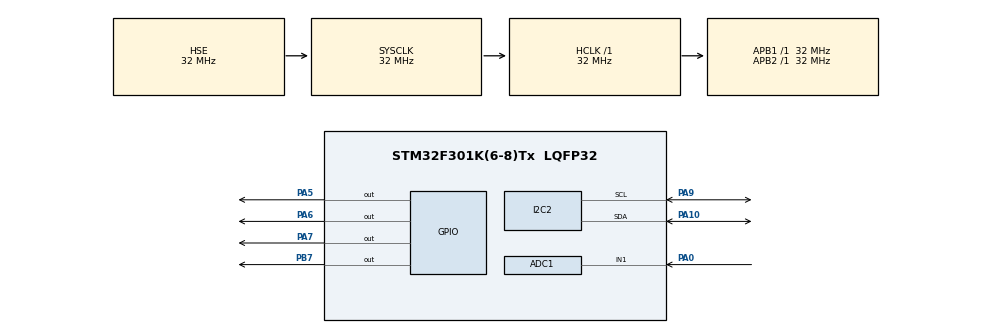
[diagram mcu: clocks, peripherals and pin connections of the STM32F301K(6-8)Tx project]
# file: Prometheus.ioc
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ADC1.Channel-0\#ChannelRegularConversion=ADC_CHANNEL_1
ADC1.ContinuousConvMode=ENABLE
ADC1.EOCSelection=ADC_EOC_SEQ_CONV
ADC1.NbrOfConversion=1
ADC1.NbrOfConversionFlag=1
ADC1.Offset-0\#ChannelRegularConversion=0
ADC1.OffsetNumber-0\#ChannelRegularConversion=ADC_OFFSET_NONE
ADC1.Rank-0\#ChannelRegularConversion=1
ADC1.SamplingTime-0\#ChannelRegularConversion=ADC_SAMPLETIME_2CYCLES_5
ADC1.SubFamily=STM32F301x8
ADC1.master=1
I2C2.DualAddressMode=I2C_DUALADDRESS_DISABLE
I2C2.GeneralCallMode=I2C_GENERALCALL_ENABLE
I2C2.I2C_Fall_Time=300
I2C2.I2C_Rise_Time=1000
I2C2.OwnAddress=0x51
I2C2.Timing=0x20D22930
Mcu.Family=STM32F3
Mcu.Name=STM32F301K(6-8)Tx
Mcu.Package=LQFP32
NVIC.I2C2_ER_IRQn=true\:0\:0\:false\:false\:true\:true\:true\:true
NVIC.I2C2_EV_IRQn=true\:0\:0\:false\:false\:true\:true\:true\:true
NVIC.PriorityGroup=NVIC_PRIORITYGROUP_4
PA0.Mode=IN1-Single-Ended
PA0.Signal=ADC1_IN1
PA10.Mode=I2C
PA10.Signal=I2C2_SDA
PA13.Mode=Serial_Wire
PA13.Signal=SYS_JTMS-SWDIO
PA14.Mode=Serial_Wire
PA14.Signal=SYS_JTCK-SWCLK
PA5.Signal=GPIO_Output
PA6.Signal=GPIO_Output
PA7.Signal=GPIO_Output
PA9.Mode=I2C
PA9.Signal=I2C2_SCL
PB7.Signal=GPIO_Output
PF0-OSC_IN.Mode=HSE-External-Oscillator
PF0-OSC_IN.Signal=RCC_OSC_IN
PF1-OSC_OUT.Mode=HSE-External-Oscillator
PF1-OSC_OUT.Signal=RCC_OSC_OUT
ProjectManager.HeapSize=0x200
ProjectManager.StackSize=0x400
ProjectManager.TargetToolchain=STM32CubeIDE
RCC.AHBFreq_Value=32000000
RCC.APB1Freq_Value=32000000
RCC.APB1TimFreq_Value=32000000
RCC.APB2Freq_Value=32000000
RCC.APB2TimFreq_Value=32000000
RCC.CortexFreq_Value=32000000
RCC.EnbaleCSS=true
RCC.HCLKFreq_Value=32000000
RCC.HSE_VALUE=32000000
RCC.HSI_VALUE=8000000
RCC.I2c2ClockSelection=RCC_I2C2CLKSOURCE_SYSCLK
RCC.PLLMUL=RCC_PLL_MUL16
RCC.PLLSourceVirtual=RCC_PLLSOURCE_HSE
RCC.RTCClockSelection=RCC_RTCCLKSOURCE_HSE_DIV32
RCC.SYSCLKFreq_VALUE=32000000
RCC.SYSCLKSourceVirtual=RCC_SYSCLKSOURCE_HSE
VP_ADC1_TempSens_Input.Mode=IN-TempSens
VP_ADC1_Vref_Input.Mode=IN-Vrefint
board=custom

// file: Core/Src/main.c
/* USER CODE BEGIN Header */
/**
  ******************************************************************************
  * @file           : main.c
  * @brief          : Main program body
  ******************************************************************************
  * @attention
  *
  * Copyright (c) 2024 STMicroelectronics.
  * All rights reserved.
  *
  * This software is licensed under terms that can be found in the LICENSE file
  * in the root directory of this software component.
  * If no LICENSE file comes with this software, it is provided AS-IS.
  *
  ******************************************************************************
  */
/* USER CODE END Header */
#include "main.h"

/* USER CODE BEGIN Includes */
#include "RequestQueue.h"
#include "i2c_queue.h"
#include "Scheduler.h"
#include "SettingsStore.h"
#include "QueueManager.h"
/* USER CODE END Includes */

ADC_HandleTypeDef hadc1;

I2C_HandleTypeDef hi2c2;

void SystemClock_Config(void);
static void MX_GPIO_Init(void);
static void MX_ADC1_Init(void);
static void MX_I2C2_Init(void);

int main(void)
{

  /* MCU Configuration--------------------------------------------------------*/

  /* Reset of all peripherals, Initializes the Flash interface and the Systick. */
  HAL_Init();

  /* Configure the system clock */
  SystemClock_Config();

  /* Initialize all configured peripherals */
  MX_GPIO_Init();
  MX_ADC1_Init();
  MX_I2C2_Init();
  /* USER CODE BEGIN 2 */
  if(HAL_I2C_EnableListen_IT(&hi2c2) != HAL_OK){
       Error_Handler();
  }

  HAL_GPIO_WritePin(GPIOA, GPIO_PIN_6, GPIO_PIN_SET);
  queue_manager_init();
  settingStoreInit();
  request_queue_init();
  i2c_queue_init();
  scheduler_init();
  HAL_GPIO_WritePin(GPIOA, GPIO_PIN_6, GPIO_PIN_RESET);
  uint8_t data[] = {
		  0x43, 0x65, 0x6C, 0x65, 0x72, 0x69, 0x74, 0x61, 0x73,	//Celeritas in ascii
  	  	  0x00, 0x00, 0x00, 0x00, 0x00, 0x00, 0x00};
  i2c_queue_push(data, false, 0x00);
  scheduler_restart_sleeptimer();
  /* USER CODE END 2 */

  /* Infinite loop */
  while (1)
  {

    /* USER CODE BEGIN 3 */
	  scheduler_update();
  }
  /* USER CODE END 3 */
}

void SystemClock_Config(void)
{
  RCC_OscInitTypeDef RCC_OscInitStruct = {0};
  RCC_ClkInitTypeDef RCC_ClkInitStruct = {0};
  RCC_PeriphCLKInitTypeDef PeriphClkInit = {0};

  /** Initializes the RCC Oscillators according to the specified parameters
  * in the RCC_OscInitTypeDef structure.
  */
  RCC_OscInitStruct.OscillatorType = RCC_OSCILLATORTYPE_HSE;
  RCC_OscInitStruct.HSEState = RCC_HSE_ON;
  RCC_OscInitStruct.HSIState = RCC_HSI_ON;
  RCC_OscInitStruct.PLL.PLLState = RCC_PLL_NONE;
  if (HAL_RCC_OscConfig(&RCC_OscInitStruct) != HAL_OK)
  {
    Error_Handler();
  }

  /** Initializes the CPU, AHB and APB buses clocks
  */
  RCC_ClkInitStruct.ClockType = RCC_CLOCKTYPE_HCLK|RCC_CLOCKTYPE_SYSCLK
                              |RCC_CLOCKTYPE_PCLK1|RCC_CLOCKTYPE_PCLK2;
  RCC_ClkInitStruct.SYSCLKSource = RCC_SYSCLKSOURCE_HSE;
  RCC_ClkInitStruct.AHBCLKDivider = RCC_SYSCLK_DIV1;
  RCC_ClkInitStruct.APB1CLKDivider = RCC_HCLK_DIV1;
  RCC_ClkInitStruct.APB2CLKDivider = RCC_HCLK_DIV1;

  if (HAL_RCC_ClockConfig(&RCC_ClkInitStruct, FLASH_LATENCY_1) != HAL_OK)
  {
    Error_Handler();
  }
  PeriphClkInit.PeriphClockSelection = RCC_PERIPHCLK_I2C2;
  PeriphClkInit.I2c2ClockSelection = RCC_I2C2CLKSOURCE_SYSCLK;
  if (HAL_RCCEx_PeriphCLKConfig(&PeriphClkInit) != HAL_OK)
  {
    Error_Handler();
  }

  /** Enables the Clock Security System
  */
  HAL_RCC_EnableCSS();
}

static void MX_ADC1_Init(void)
{

  ADC_ChannelConfTypeDef sConfig = {0};

  /** Common config
  */
  hadc1.Instance = ADC1;
  hadc1.Init.ClockPrescaler = ADC_CLOCK_SYNC_PCLK_DIV1;
  hadc1.Init.Resolution = ADC_RESOLUTION_12B;
  hadc1.Init.ScanConvMode = ADC_SCAN_DISABLE;
  hadc1.Init.ContinuousConvMode = ENABLE;
  hadc1.Init.DiscontinuousConvMode = DISABLE;
  hadc1.Init.ExternalTrigConvEdge = ADC_EXTERNALTRIGCONVEDGE_NONE;
  hadc1.Init.ExternalTrigConv = ADC_SOFTWARE_START;
  hadc1.Init.DataAlign = ADC_DATAALIGN_RIGHT;
  hadc1.Init.NbrOfConversion = 1;
  hadc1.Init.DMAContinuousRequests = DISABLE;
  hadc1.Init.EOCSelection = ADC_EOC_SEQ_CONV;
  hadc1.Init.LowPowerAutoWait = DISABLE;
  hadc1.Init.Overrun = ADC_OVR_DATA_OVERWRITTEN;
  if (HAL_ADC_Init(&hadc1) != HAL_OK)
  {
    Error_Handler();
  }

  /** Configure Regular Channel
  */
  sConfig.Channel = ADC_CHANNEL_1;
  sConfig.Rank = ADC_REGULAR_RANK_1;
  sConfig.SingleDiff = ADC_SINGLE_ENDED;
  sConfig.SamplingTime = ADC_SAMPLETIME_2CYCLES_5;
  sConfig.OffsetNumber = ADC_OFFSET_NONE;
  sConfig.Offset = 0;
  if (HAL_ADC_ConfigChannel(&hadc1, &sConfig) != HAL_OK)
  {
    Error_Handler();
  }

}

static void MX_I2C2_Init(void)
{

  hi2c2.Instance = I2C2;
  hi2c2.Init.Timing = 0x20D22930;
  hi2c2.Init.OwnAddress1 = 162;
  hi2c2.Init.AddressingMode = I2C_ADDRESSINGMODE_7BIT;
  hi2c2.Init.DualAddressMode = I2C_DUALADDRESS_DISABLE;
  hi2c2.Init.OwnAddress2 = 0;
  hi2c2.Init.OwnAddress2Masks = I2C_OA2_NOMASK;
  hi2c2.Init.GeneralCallMode = I2C_GENERALCALL_ENABLE;
  hi2c2.Init.NoStretchMode = I2C_NOSTRETCH_DISABLE;
  if (HAL_I2C_Init(&hi2c2) != HAL_OK)
  {
    Error_Handler();
  }

  /** Configure Analogue filter
  */
  if (HAL_I2CEx_ConfigAnalogFilter(&hi2c2, I2C_ANALOGFILTER_ENABLE) != HAL_OK)
  {
    Error_Handler();
  }

  /** Configure Digital filter
  */
  if (HAL_I2CEx_ConfigDigitalFilter(&hi2c2, 0) != HAL_OK)
  {
    Error_Handler();
  }

}

static void MX_GPIO_Init(void)
{
  GPIO_InitTypeDef GPIO_InitStruct = {0};

  /* GPIO Ports Clock Enable */
  __HAL_RCC_GPIOF_CLK_ENABLE();
  __HAL_RCC_GPIOA_CLK_ENABLE();
  __HAL_RCC_GPIOB_CLK_ENABLE();

  /*Configure GPIO pin Output Level */
  HAL_GPIO_WritePin(GPIOA, GPIO_PIN_5|GPIO_PIN_6|GPIO_PIN_7, GPIO_PIN_RESET);

  /*Configure GPIO pin Output Level */
  HAL_GPIO_WritePin(GPIOB, GPIO_PIN_7, GPIO_PIN_RESET);

  /*Configure GPIO pins : PA5 PA6 PA7 */
  GPIO_InitStruct.Pin = GPIO_PIN_5|GPIO_PIN_6|GPIO_PIN_7;
  GPIO_InitStruct.Mode = GPIO_MODE_OUTPUT_PP;
  GPIO_InitStruct.Pull = GPIO_NOPULL;
  GPIO_InitStruct.Speed = GPIO_SPEED_FREQ_LOW;
  HAL_GPIO_Init(GPIOA, &GPIO_InitStruct);

  /*Configure GPIO pin : PB7 */
  GPIO_InitStruct.Pin = GPIO_PIN_7;
  GPIO_InitStruct.Mode = GPIO_MODE_OUTPUT_PP;
  GPIO_InitStruct.Pull = GPIO_NOPULL;
  GPIO_InitStruct.Speed = GPIO_SPEED_FREQ_LOW;
  HAL_GPIO_Init(GPIOB, &GPIO_InitStruct);

}

void Error_Handler(void)
{
  /* USER CODE BEGIN Error_Handler_Debug */
  /* User can add his own implementation to report the HAL error return state */

  HAL_NVIC_SystemReset();
  while (1)
  {
  }
  /* USER CODE END Error_Handler_Debug */
}
